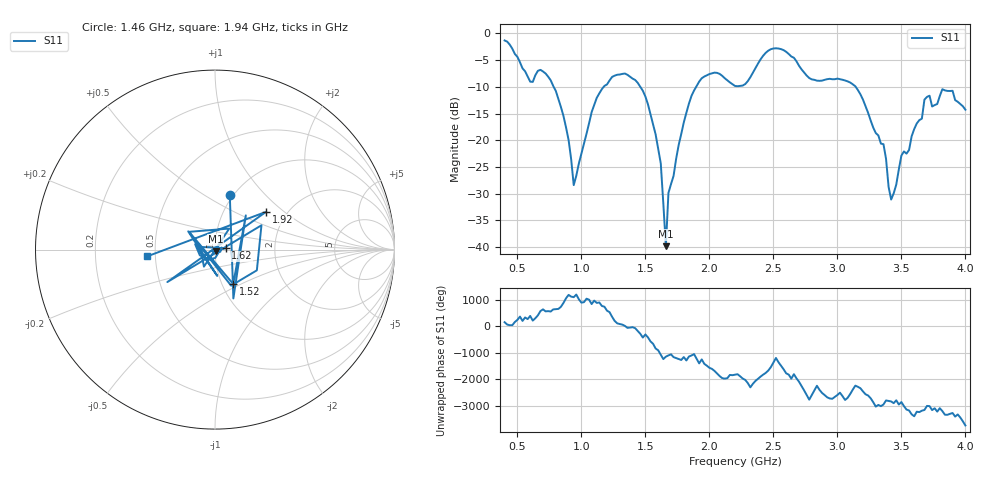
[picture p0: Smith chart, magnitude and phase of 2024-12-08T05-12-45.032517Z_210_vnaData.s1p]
!Created with skrf (http://scikit-rf.org).
# Hz S RI R 50.0
!freq ReS11 ImS11
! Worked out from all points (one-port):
!   181 points, 400 MHz to 4 GHz, reference 50 ohm
!   lowest |S11| = -39.8 dB at 1.66 GHz (marker M1), VSWR 1.02, Z = 50.3 - j0.964 ohm
!   |S11| at or under -10 dB: 783.4 MHz to 1.174 GHz (390.7 MHz wide, 39.9 % of centre); 1.461 GHz to 1.897 GHz (435.9 MHz wide, 26 % of centre); 3.143 GHz to end of sweep
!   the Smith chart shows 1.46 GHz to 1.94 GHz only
!   S11 on the Smith chart (normalised r, x): 1.46 GHz: 0.96, +0.65; 1.52 GHz: 1.13, -0.45; 1.62 GHz: 1.13, +0.02; 1.92 GHz: 1.57, +0.76; 1.94 GHz: 0.45, -0.04
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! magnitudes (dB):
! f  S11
! 400 MHz  -1.3
! 600 MHz  -9.0
! 740 MHz  -8.1
! 860 MHz  -15.5
! 940 MHz  -28.4
! 1.12 GHz  -12.1
! 1.3 GHz  -7.7
! 1.46 GHz  -10.0
! 1.52 GHz  -13.3
! 1.62 GHz  -24.3
! 1.66 GHz  -39.8
! 1.68 GHz  -29.9
! 1.76 GHz  -20.9
! 1.92 GHz  -9.0
! 1.94 GHz  -8.4
! 2.2 GHz  -9.8
! 2.48 GHz  -2.9
! 2.66 GHz  -4.5
! 2.8 GHz  -8.6
! 3.1 GHz  -9.2
! 3.36 GHz  -20.7
! 3.42 GHz  -31.1
! 3.5 GHz  -22.9
! 3.56 GHz  -21.8
! 3.7 GHz  -11.9
! 3.74 GHz  -13.7
! 3.9 GHz  -10.7
! 4 GHz  -14.3
